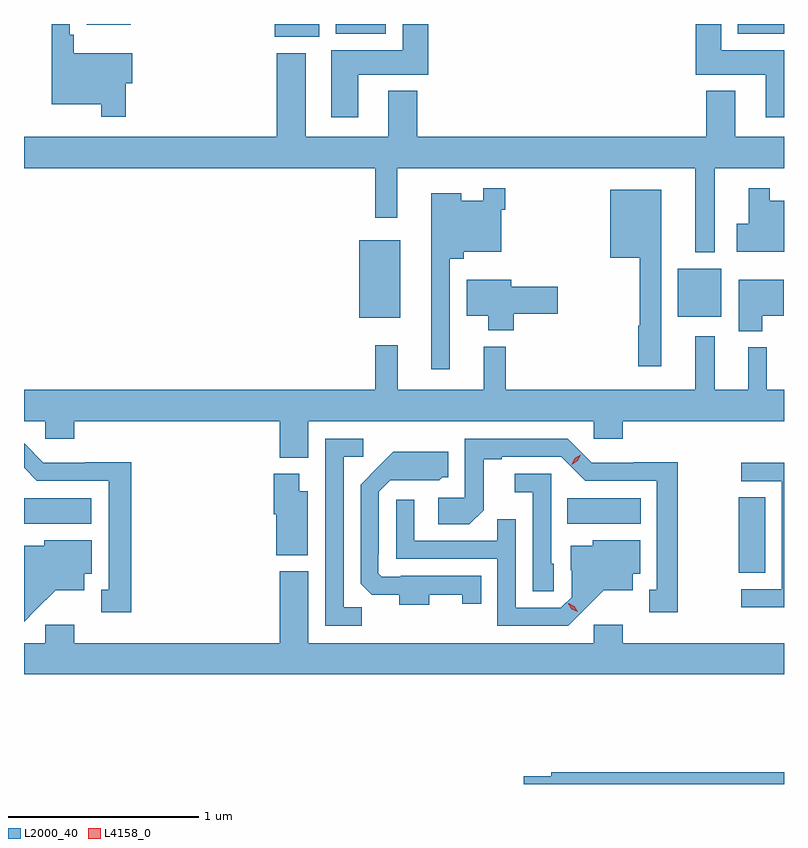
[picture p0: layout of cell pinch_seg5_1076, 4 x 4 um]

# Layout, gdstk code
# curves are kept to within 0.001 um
import gdstk
lib = gdstk.Library(unit=1e-6, precision=1e-09)
def R(c, l, rs):  # rectangles x0, y0, x1, y1
    for r in rs: c.add(gdstk.rectangle(r[:2], r[2:], *l))
def P(c, l, *ps):  # polygons
    for p in ps: c.add(gdstk.Polygon(p, *l))
L2000_40 = (2000, 40)
L4158_0 = (4158, 0)

pinch_seg5_1076 = lib.new_cell('pinch_seg5_1076')
R(pinch_seg5_1076, L2000_40, [(796.945,871.945,797.083,872.342), (793.183,872.204,793.537,872.338), (796.042,872.204,796.429,872.338), (794.948,873.287,795.163,873.697), (796.625,873.293,796.852,873.547), (794.504,874.766,794.737,874.834), (794.825,874.784,795.088,874.834), (796.94,874.784,797.183,874.834), (793.514,874.829,793.746,874.834)])
P(pinch_seg5_1076, L2000_40, [(797.183,874.696),(796.852,874.696),(796.852,874.834),(796.718,874.834),(796.718,874.568),(797.087,874.568),(797.087,874.344),(797.183,874.344)],
  [(794.941,874.568),(795.311,874.568),(795.311,874.834),(795.176,874.834),(795.176,874.696),(794.801,874.696),(794.801,874.344),(794.941,874.344)],
  [(793.718,874.523),(793.753,874.523),(793.753,874.681),(793.445,874.681),(793.445,874.777),(793.425,874.777),(793.425,874.834),(793.328,874.834),(793.328,874.412),(793.59,874.412),(793.59,874.347),(793.718,874.347)],
  [(796.819,874.076),(797.183,874.076),(797.183,874.24),(796.927,874.24),(796.927,874.483),(796.775,874.483),(796.775,874.24),(795.254,874.24),(795.254,874.483),(795.101,874.483),(795.101,874.24),(794.665,874.24),(794.665,874.681),(794.513,874.681),(794.513,874.24),(793.183,874.24),(793.183,874.076),(795.031,874.076),(795.031,873.813),(795.148,873.813),(795.148,874.076),(796.715,874.076),(796.715,873.632),(796.819,873.632)],
  [(795.423,873.599),(795.497,873.599),(795.497,873.635),(795.696,873.635),(795.696,873.857),(795.716,873.857),(795.716,873.97),(795.6,873.97),(795.6,873.904),(795.484,873.904),(795.484,873.943),(795.326,873.943),(795.326,873.018),(795.423,873.018)],
  [(797.183,873.904),(797.107,873.904),(797.107,873.97),(796.997,873.97),(796.997,873.783),(796.934,873.783),(796.934,873.635),(797.183,873.635)],
  [(796.537,873.961),(796.268,873.961),(796.268,873.605),(796.423,873.605),(796.423,873.245),(796.416,873.245),(796.416,873.033),(796.537,873.033)],
  [(797.068,873.299),(797.182,873.299),(797.182,873.487),(796.946,873.487),(796.946,873.218),(797.068,873.218)],
  [(795.761,873.31),(795.991,873.31),(795.991,873.452),(795.748,873.452),(795.748,873.487),(795.512,873.487),(795.512,873.299),(795.626,873.299),(795.626,873.221),(795.761,873.221)],
  [(794.68,872.744),(796.182,872.744),(796.182,872.651),(796.334,872.651),(796.334,872.744),(797.183,872.744),(797.183,872.908),(797.093,872.908),(797.093,873.133),(796.994,873.133),(796.994,872.908),(796.819,872.908),(796.819,873.19),(796.715,873.19),(796.715,872.908),(795.719,872.908),(795.719,873.136),(795.602,873.136),(795.602,872.908),(795.149,872.908),(795.149,873.142),(795.031,873.142),(795.031,872.908),(793.183,872.908),(793.183,872.744),(793.296,872.744),(793.296,872.651),(793.448,872.651),(793.448,872.744),(794.528,872.744),(794.528,872.552),(794.68,872.552)],
  [(796.625,872.528),(796.392,872.528),(796.392,872.526),(796.17,872.526),(796.044,872.652),(795.504,872.652),(795.504,872.34),(795.363,872.34),(795.363,872.2),(795.527,872.2),(795.603,872.276),(795.603,872.544),(795.697,872.544),(795.697,872.556),(796.011,872.556),(796.137,872.43),(796.514,872.43),(796.514,871.857),(796.475,871.857),(796.475,871.737),(796.625,871.737)],
  [(794.961,871.763),(794.865,871.763),(794.865,872.556),(794.968,872.556),(794.968,872.652),(794.769,872.652),(794.769,871.668),(794.961,871.668)],
  [(793.747,872.528),(793.506,872.528),(793.506,872.526),(793.284,872.526),(793.183,872.627),(793.183,872.498),(793.251,872.43),(793.628,872.43),(793.628,871.857),(793.589,871.857),(793.589,871.737),(793.747,871.737)],
  [(795.316,871.831),(795.489,871.831),(795.489,871.782),(795.59,871.782),(795.59,871.929),(795.166,871.929),(795.166,871.926),(795.066,871.926),(795.048,871.944),(795.048,872.044),(795.051,872.044),(795.051,872.373),(795.111,872.433),(795.368,872.432),(795.384,872.448),(795.415,872.448),(795.415,872.584),(795.127,872.584),(794.955,872.41),(794.955,871.888),(795.014,871.829),(795.158,871.829),(795.158,871.778),(795.316,871.778)],
  [(797.183,872.526),(796.959,872.526),(796.959,872.427),(797.172,872.427),(797.172,871.86),(796.959,871.86),(796.959,871.764),(797.183,871.764)],
  [(794.677,872.374),(794.632,872.374),(794.632,872.467),(794.498,872.467),(794.498,872.253),(794.51,872.253),(794.51,872.039),(794.677,872.039)],
  [(795.972,871.992),(795.957,871.992),(795.957,872.466),(795.765,872.466),(795.765,872.369),(795.861,872.369),(795.861,871.849),(795.972,871.849)],
  [(796.132,871.751),(796.235,871.853),(796.387,871.853),(796.387,871.94),(796.426,871.94),(796.426,872.116),(796.176,872.116),(796.176,872.089),(796.061,872.089),(796.061,871.96),(796.065,871.96),(796.065,871.818),(796.008,871.761),(795.771,871.761),(795.771,872.228),(795.673,872.228),(795.673,872.115),(795.237,872.115),(795.237,872.329),(795.141,872.329),(795.141,872.019),(795.675,872.019),(795.675,871.668),(796.048,871.668)],
  [(793.246,871.751),(793.349,871.853),(793.501,871.853),(793.501,871.94),(793.54,871.94),(793.54,872.116),(793.29,872.116),(793.29,872.089),(793.183,872.089),(793.183,871.689)],
  [(797.183,871.576),(796.334,871.576),(796.334,871.672),(796.182,871.672),(796.182,871.576),(794.68,871.576),(794.68,871.954),(794.528,871.954),(794.528,871.576),(793.448,871.576),(793.448,871.672),(793.296,871.672),(793.296,871.576),(793.183,871.576),(793.183,871.412),(797.183,871.412)],
  [(797.183,870.896),(795.958,870.896),(795.958,870.876),(795.812,870.876),(795.812,870.834),(797.183,870.834)])
P(pinch_seg5_1076, L4158_0, [(796.065,872.515),(796.065,872.516),(796.082,872.548),(796.114,872.568),(796.114,872.568),(796.114,872.567),(796.097,872.535),(796.065,872.515)],
  [(796.097,871.74),(796.066,871.755),(796.048,871.784),(796.048,871.785),(796.049,871.785),(796.079,871.77),(796.097,871.741),(796.097,871.74)])

lib.write_gds('pinch_seg5_1076.gds')
